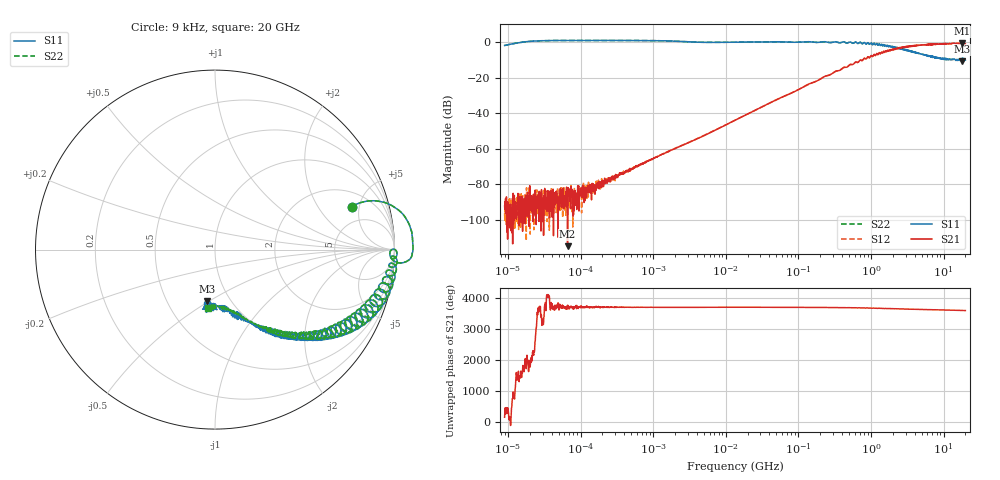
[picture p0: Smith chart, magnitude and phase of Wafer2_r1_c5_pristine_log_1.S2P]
!  2-Port S-parameters saved by WinCal
! VAR MeasName=S-Parameters (CALIBRATED_DATA) read from VNA (P5004A)
! VAR MeasDate=26/04/2024 18:15:51
! VAR NAME=Wafer2_r1_c5_pristine_log
! VAR FILENAME=Wafer2_r1_c5_pristine_log_1.S2P
! VAR DATE=26/04/2024 18:15:51
! VAR PHYS_PORTS=1,2
! VAR ObjTypeName=DATASET
! VAR IndexType=Frequency
# Hz S MA R 50
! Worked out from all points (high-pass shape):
!   2000 points, 9 kHz to 20 GHz, reference 50 ohm
!   highest |S21| = -0.64 dB at 18.05 GHz (marker M1); lowest = -114.9 dB at 66.22 kHz (marker M2)
!   |S21| within 3 dB of the highest: 2.353 GHz to 2.423 GHz (70.59 MHz wide, 2.96 % of centre); 2.439 GHz to end of sweep (the widest 2 of 4)
!   lowest |S11| = -10.8 dB at 18.19 GHz (marker M3), VSWR 1.81, Z = 39.2 - j24.5 ohm
!   |S11| at or under -10 dB: 12.35 GHz to 12.74 GHz (385.3 MHz wide, 3.07 % of centre); 14.45 GHz to 15.14 GHz (688.2 MHz wide, 4.65 % of centre); 16.17 GHz to 16.48 GHz (311 MHz wide, 1.91 % of centre) (the widest 3 of 16)
!   |S22| runs from -10.4 to 0.9 dB; largest |S21 - S12| = 0.037
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9000  0.7977 17.3  2.428e-05 160.9  1.54e-05 127.5  0.7978 17.3
13259.17  0.9384 16.8  1.585e-05 40.7  1.752e-05 -74.5  0.9382 16.8
21957.87  1.054 11.6  4.49e-05 83.4  1.221e-05 145.6  1.054 11.6
66223.54  1.102 3.5  1.8e-06 55.2  4.945e-05 88.8  1.102 3.5
103439.5  1.102 2.1  5.556e-05 118.1  1.561e-05 45.4  1.102 2.1
192557.1  1.103 0.9  8.585e-05 94.0  9.14e-05 81.2  1.103 0.9
1180198  1.09 -2.6  0.0006172 87.1  0.000609 86.2  1.09 -2.6
4530556  0.9808 -2.6  0.002105 86.7  0.002128 86.5  0.9806 -2.6
1.346554e7  0.986 0.1  0.006289 89.2  0.006321 88.6  0.9861 0.1
1.105652e8  0.9951 -2.1  0.05053 86.4  0.0509 86.0  0.9947 -2.1
1.536358e8  1 -5.6  0.07089 82.5  0.07022 82.7  1.001 -5.5
2.966476e8  0.9818 -6.7  0.1316 81.1  0.1328 81.0  0.9817 -6.7
7.506948e8  0.8948 -20.9  0.2989 65.9  0.2982 66.1  0.8964 -20.6
1.043128e9  0.8509 -27.9  0.3895 58.4  0.3897 58.4  0.8526 -27.6
1.752917e9  0.7396 -37.2  0.5522 47.7  0.5551 47.6  0.7394 -36.9
2.945676e9  0.5999 -49.7  0.7131 33.1  0.7194 33.2  0.6026 -49.4
5.646226e9  0.4296 -66.2  0.8378 15.1  0.8429 14.8  0.4279 -65.7
9.488158e9  0.343 -80.9  0.8876 1.8  0.8775 1.6  0.3412 -77.0
1.347662e10  0.3348 -88.1  0.9232 -5.7  0.9187 -6.6  0.318 -86.9
1.805428e10  0.3481 -98.4  0.9294 -14.6  0.9024 -16.2  0.3013 -93.1
1.818676e10  0.2894 -98.5  0.8829 -16.2  0.8711 -14.0  0.3308 -91.7
2e10  0.3105 -98.3  0.8875 -17.3  0.9013 -16.6  0.3295 -97.2
